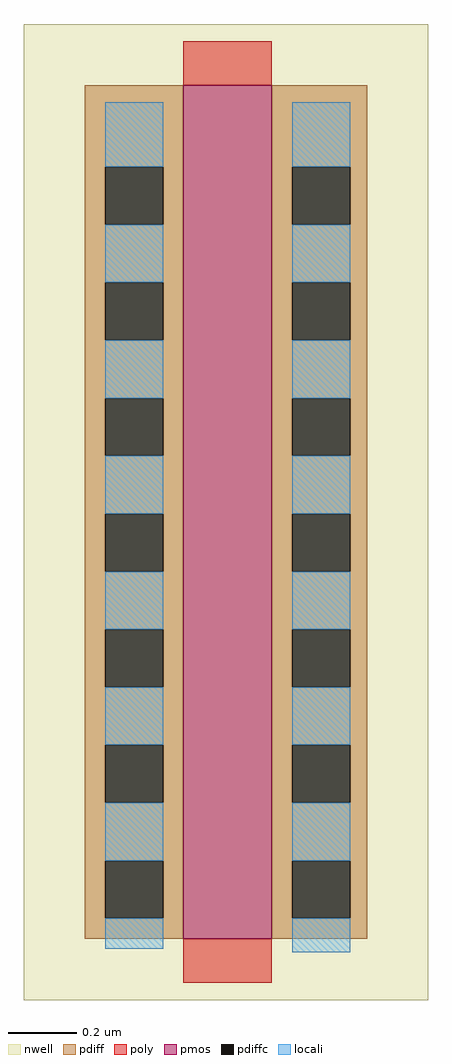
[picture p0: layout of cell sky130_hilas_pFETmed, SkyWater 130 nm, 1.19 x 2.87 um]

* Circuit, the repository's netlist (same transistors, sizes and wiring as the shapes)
* NGSPICE file created from /home/bjmuld/work/hilas/fastlane/PDKs/sky130A_hilas/libs.ref/sky130_hilas_sc/mag/sky130_hilas_pFETmed.ext - technology: sky130A


* Top level circuit /home/bjmuld/work/hilas/fastlane/PDKs/sky130A_hilas/libs.ref/sky130_hilas_sc/mag/sky130_hilas_pFETmed

X0 a_440_n8# a_388_n34# a_330_n8# w_294_n44# sky130_fd_pr__pfet_01v8 w=2.51e+06u l=260000u
.end

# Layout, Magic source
magic
tech sky130A
<< nwell >>
rect 0 0 119 287
<< pmos >>
rect 47 18 73 269
<< pdiff >>
rect 18 245 47 269
rect 18 228 24 245
rect 41 228 47 245
rect 18 211 47 228
rect 18 194 24 211
rect 41 194 47 211
rect 18 177 47 194
rect 18 160 24 177
rect 41 160 47 177
rect 18 143 47 160
rect 18 126 24 143
rect 41 126 47 143
rect 18 109 47 126
rect 18 92 24 109
rect 41 92 47 109
rect 18 75 47 92
rect 18 58 24 75
rect 41 58 47 75
rect 18 41 47 58
rect 18 24 24 41
rect 41 24 47 41
rect 18 18 47 24
rect 73 245 101 269
rect 73 228 79 245
rect 96 228 101 245
rect 73 211 101 228
rect 73 194 79 211
rect 96 194 101 211
rect 73 177 101 194
rect 73 160 79 177
rect 96 160 101 177
rect 73 143 101 160
rect 73 126 79 143
rect 96 126 101 143
rect 73 109 101 126
rect 73 92 79 109
rect 96 92 101 109
rect 73 75 101 92
rect 73 58 79 75
rect 96 58 101 75
rect 73 41 101 58
rect 73 24 79 41
rect 96 24 101 41
rect 73 18 101 24
<< pdiffc >>
rect 24 228 41 245
rect 24 194 41 211
rect 24 160 41 177
rect 24 126 41 143
rect 24 92 41 109
rect 24 58 41 75
rect 24 24 41 41
rect 79 228 96 245
rect 79 194 96 211
rect 79 160 96 177
rect 79 126 96 143
rect 79 92 96 109
rect 79 58 96 75
rect 79 24 96 41
<< poly >>
rect 47 269 73 282
rect 47 5 73 18
<< locali >>
rect 24 245 41 264
rect 24 211 41 228
rect 24 177 41 194
rect 24 143 41 160
rect 24 109 41 126
rect 24 75 41 92
rect 24 41 41 58
rect 24 15 41 24
rect 79 245 96 264
rect 79 211 96 228
rect 79 177 96 194
rect 79 143 96 160
rect 79 109 96 126
rect 79 75 96 92
rect 79 41 96 58
rect 79 14 96 24
<< properties >>
string LEFsite unithd
string LEFclass CORE
string LEFsymmetry X Y R90
<< end >>
